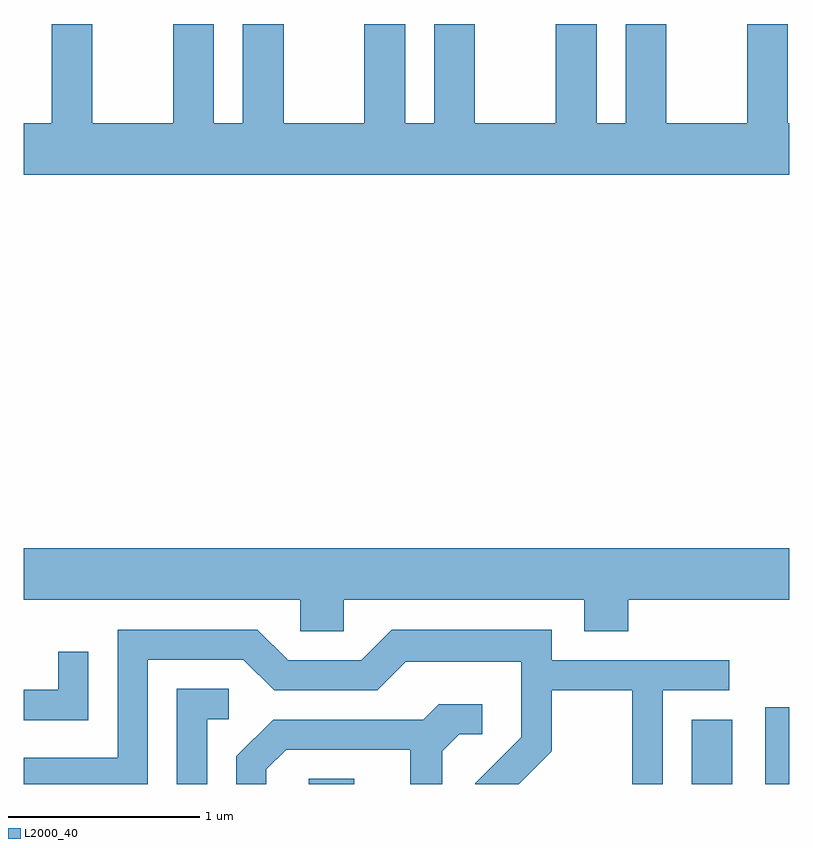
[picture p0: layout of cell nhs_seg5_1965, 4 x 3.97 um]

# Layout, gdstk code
import gdstk
lib = gdstk.Library(unit=1e-6, precision=1e-09)
def R(c, l, rs):  # rectangles x0, y0, x1, y1
    for r in rs: c.add(gdstk.rectangle(r[:2], r[2:], *l))
def P(c, l, *ps):  # polygons
    for p in ps: c.add(gdstk.Polygon(p, *l))
L2000_40 = (2000, 40)

nhs_seg5_1965 = lib.new_cell('nhs_seg5_1965')
R(nhs_seg5_1965, L2000_40, [(245.101,1438.072,245.339,1438.099), (247.101,1438.072,247.314,1438.409), (247.486,1438.072,247.611,1438.474)])
P(nhs_seg5_1965, L2000_40, [(247.611,1441.524),(247.604,1441.524),(247.604,1442.044),(247.391,1442.044),(247.391,1441.524),(246.969,1441.524),(246.969,1442.044),(246.756,1442.044),(246.756,1441.524),(246.604,1441.524),(246.604,1442.044),(246.391,1442.044),(246.391,1441.524),(245.969,1441.524),(245.969,1442.044),(245.756,1442.044),(245.756,1441.524),(245.604,1441.524),(245.604,1442.044),(245.391,1442.044),(245.391,1441.524),(244.969,1441.524),(244.969,1442.044),(244.756,1442.044),(244.756,1441.524),(244.604,1441.524),(244.604,1442.044),(244.391,1442.044),(244.391,1441.524),(243.969,1441.524),(243.969,1442.044),(243.756,1442.044),(243.756,1441.524),(243.611,1441.524),(243.611,1441.256),(247.611,1441.256)],
  [(245.284,1439.036),(246.541,1439.036),(246.541,1438.871),(246.769,1438.871),(246.769,1439.036),(247.611,1439.036),(247.611,1439.304),(243.611,1439.304),(243.611,1439.036),(245.056,1439.036),(245.056,1438.871),(245.284,1438.871)],
  [(244.259,1438.721),(244.759,1438.721),(244.919,1438.561),(245.457,1438.561),(245.607,1438.711),(246.211,1438.711),(246.211,1438.317),(245.971,1438.077),(245.971,1438.072),(246.197,1438.072),(246.369,1438.244),(246.369,1438.561),(246.791,1438.561),(246.791,1438.072),(246.949,1438.072),(246.949,1438.561),(247.298,1438.561),(247.298,1438.719),(246.369,1438.719),(246.369,1438.879),(245.534,1438.879),(245.374,1438.719),(244.992,1438.719),(244.832,1438.879),(244.101,1438.879),(244.101,1438.209),(243.611,1438.209),(243.611,1438.072),(244.259,1438.072)],
  [(243.949,1438.763),(243.791,1438.763),(243.791,1438.564),(243.611,1438.564),(243.611,1438.406),(243.949,1438.406)],
  [(244.569,1438.411),(244.683,1438.411),(244.683,1438.569),(244.411,1438.569),(244.411,1438.072),(244.569,1438.072)],
  [(244.879,1438.149),(244.982,1438.251),(245.631,1438.251),(245.631,1438.072),(245.799,1438.072),(245.799,1438.244),(245.887,1438.331),(246.008,1438.331),(246.008,1438.489),(245.779,1438.489),(245.699,1438.409),(244.914,1438.409),(244.721,1438.217),(244.721,1438.072),(244.879,1438.072)])

lib.write_gds('nhs_seg5_1965.gds')
